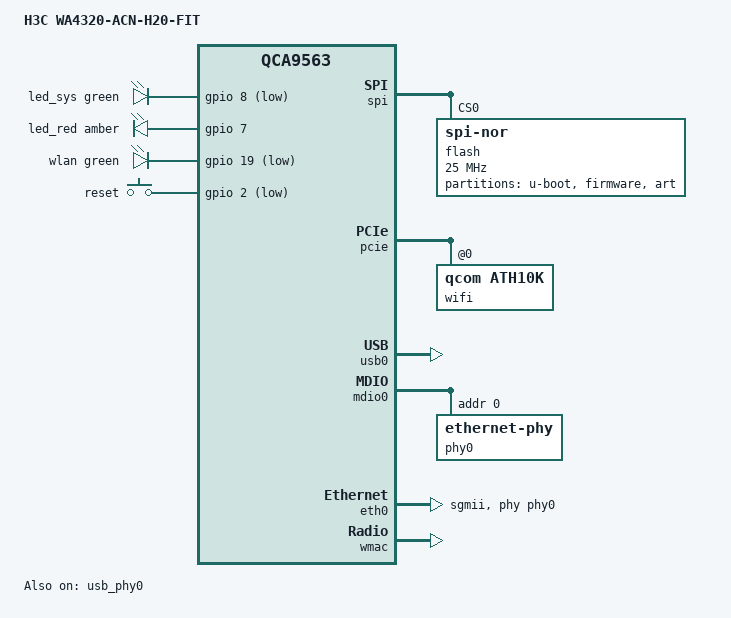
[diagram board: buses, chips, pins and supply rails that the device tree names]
// SPDX-License-Identifier: GPL-2.0-or-later OR MIT

#include "qca956x.dtsi"

#include <dt-bindings/gpio/gpio.h>
#include <dt-bindings/input/input.h>
#include <dt-bindings/leds/common.h>

/ {
	compatible = "h3c,wa4320-acn-h20-fit", "qca,qca9563";
	model = "H3C WA4320-ACN-H20-FIT";

	aliases {
		led-boot = &led_sys;
		led-failsafe = &led_red;
		led-running = &led_sys;
		led-upgrade = &led_red;
		label-mac-device = &eth0;
	};

	leds {
		compatible = "gpio-leds";

		/* SYS green and amber GPIOs and polarities verified on the device. */
		led_sys: sys {
			function = LED_FUNCTION_STATUS;
			color = <LED_COLOR_ID_GREEN>;
			gpios = <&gpio 8 GPIO_ACTIVE_LOW>;
		};

		led_red: red {
			function = LED_FUNCTION_FAULT;
			color = <LED_COLOR_ID_AMBER>;
			gpios = <&gpio 7 GPIO_ACTIVE_HIGH>;
		};

		wlan {
			function = LED_FUNCTION_WLAN;
			color = <LED_COLOR_ID_GREEN>;
			gpios = <&gpio 19 GPIO_ACTIVE_LOW>;
		};
	};

	keys {
		compatible = "gpio-keys";

		reset {
			label = "reset";
			linux,code = <KEY_RESTART>;
			gpios = <&gpio 2 GPIO_ACTIVE_LOW>;
			debounce-interval = <60>;
		};
	};
};

&spi {
	status = "okay";

	flash@0 {
		compatible = "jedec,spi-nor";
		reg = <0>;
		spi-max-frequency = <25000000>;
		#address-cells = <1>;
		#size-cells = <1>;

		partitions {
			compatible = "fixed-partitions";
			#address-cells = <1>;
			#size-cells = <1>;

			partition@0 {
				label = "u-boot";
				reg = <0x000000 0x090000>;
				read-only;
			};

			partition@90000 {
				compatible = "denx,uimage";
				label = "firmware";
				reg = <0x090000 0xf60000>;
			};

			partition@ff0000 {
				label = "art";
				reg = <0xff0000 0x010000>;
				read-only;

				nvmem-layout {
					compatible = "fixed-layout";
					#address-cells = <1>;
					#size-cells = <1>;

					macaddr_art_0: macaddr@0 {
						compatible = "mac-base";
						reg = <0x0 0x6>;
						#nvmem-cell-cells = <1>;
					};

					cal_art_1000: calibration@1000 {
						reg = <0x1000 0x440>;
					};

					cal_art_5000: calibration@5000 {
						reg = <0x5000 0x2f20>;
					};
				};
			};
		};
	};
};

&pcie {
	status = "okay";

	wifi@0,0 {
		compatible = "qcom,ath10k";
		reg = <0x0000 0 0 0 0>;
		nvmem-cells = <&cal_art_5000>, <&macaddr_art_0 2>;
		nvmem-cell-names = "calibration", "mac-address";
	};
};

&usb_phy0 {
	status = "okay";
};

&usb0 {
	status = "okay";
};

/* QCA8337 answers on MDIO address 0x10, PAD0 is SGMII (0x00080080 read in Breed) */
&mdio0 {
	status = "okay";

	phy0: ethernet-phy@0 {
		reg = <0>;
		phy-mode = "sgmii";
		qca,mib-poll-interval = <500>;

		qca,ar8327-initvals = <
			0x04 0x00080080 /* PORT0 PAD MODE CTRL */
			0x50 0xc731c731 /* LED_CTRL0: link and activity */
			0x54 0xc335c335 /* LED_CTRL1: 10/100M and activity */
			0x58 0x0f350f35 /* LED_CTRL2: disabled for PHY0/4 */
			0x5c 0x00f3cf00 /* LED_CTRL3: disable LED2 for PHY1-3 */
			0x7c 0x0000007e /* PORT0_STATUS */
		>;
	};
};

&eth0 {
	status = "okay";

	phy-mode = "sgmii";
	phy-handle = <&phy0>;

	nvmem-cells = <&macaddr_art_0 0>;
	nvmem-cell-names = "mac-address";
};

&wmac {
	status = "okay";

	nvmem-cells = <&macaddr_art_0 1>, <&cal_art_1000>;
	nvmem-cell-names = "mac-address", "calibration";
};
